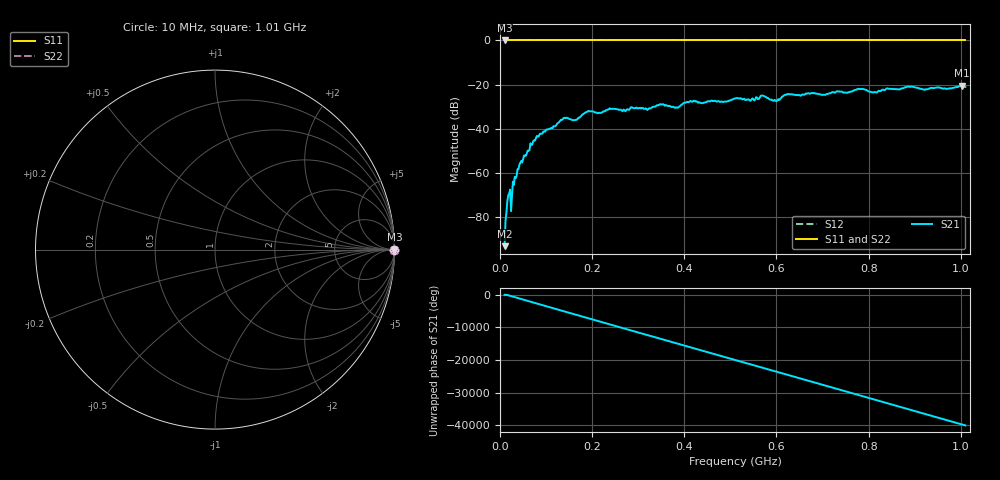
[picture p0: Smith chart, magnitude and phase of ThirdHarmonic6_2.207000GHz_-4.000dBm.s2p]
! 8/17/2025 2:17:45 AM
! C:\ANRITSUVNA\TEMP\TEMP.S2P
! CHANNEL.1
! TR.MEASUREMENT
! RAW.DATA
! RF.CORRECTION.OFF
! AVERAGING.OFF
! IF.BANDWIDTH: 5KHZ
! SWEEPTYPE:  FREQ.SWEEP(Linear)
! Reference Plane Port Info
! PORT:  PORT1  PORT2
! DISTANCE:  0  m  0  m
! TIME:  0  s  0  s
! PHASE.OFFSET:  0  deg.  0  deg.
! LOSS:  0  dB  0  dB
! REF.LOSS:  0  dB  0  dB
! REF.FREQ:  0  Hz  0  Hz
! Power Info
! POWER:  -20  dBm  -20  dBm
! EFF.POWER:  -20  dBm  -20  dBm
! SOURCE.ATTEN:  0  dB  0  dB
! TEST.ATTEN:  0  dB  0  dB
# GHZ S RI R 50.0
! FREQ.GHZ  S11RE  S11IM  S21RE  S21IM  S12RE  S12IM  S22RE  S22IM
!; PortSelection: Port_12
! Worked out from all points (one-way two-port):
!   501 points, 10 MHz to 1.01 GHz, reference 50 ohm
!   highest |S21| = -20.58 dB at 1.002 GHz (marker M1); lowest = -93.3 dB at 10 MHz (marker M2)
!   lowest |S11| = 0.0 dB at 10 MHz (marker M3)
!   |S11| at or under -10 dB: nowhere
!   |S22| runs from 0.0 to 0.0 dB; largest |S21 - S12| = 1.1
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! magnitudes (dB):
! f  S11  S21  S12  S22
! 10 MHz  0.0  -93.3  0.0  0.0
! 18 MHz  0.0  -70.3  0.0  0.0
! 28 MHz  0.0  -64.1  0.0  0.0
! 32 MHz  0.0  -61.9  0.0  0.0
! 42 MHz  0.0  -56.5  0.0  0.0
! 76 MHz  0.0  -45.4  0.0  0.0
! 136 MHz  0.0  -35.8  0.0  0.0
! 164 MHz  0.0  -36.1  0.0  0.0
! 178 MHz  0.0  -33.7  0.0  0.0
! 192 MHz  0.0  -32.0  0.0  0.0
! 344 MHz  0.0  -29.4  0.0  0.0
! 384 MHz  0.0  -30.4  0.0  0.0
! 410 MHz  0.0  -28.0  0.0  0.0
! 510 MHz  0.0  -26.3  0.0  0.0
! 548 MHz  0.0  -26.2  0.0  0.0
! 570 MHz  0.0  -25.0  0.0  0.0
! 596 MHz  0.0  -27.0  0.0  0.0
! 622 MHz  0.0  -24.6  0.0  0.0
! 678 MHz  0.0  -23.8  0.0  0.0
! 844 MHz  0.0  -21.9  0.0  0.0
! 1.002 GHz  0.0  -20.6  0.0  0.0
! 1.01 GHz  0.0  -21.1  0.0  0.0
